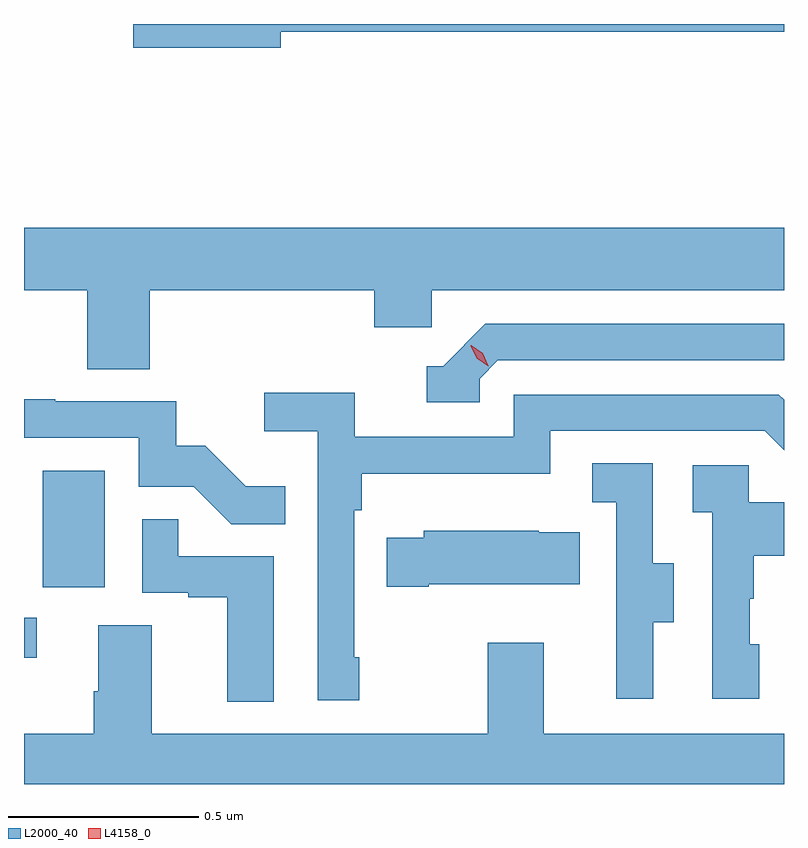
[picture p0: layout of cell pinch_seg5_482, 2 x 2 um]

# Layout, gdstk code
import gdstk
lib = gdstk.Library(unit=1e-6, precision=1e-09)
def R(c, l, rs):  # rectangles x0, y0, x1, y1
    for r in rs: c.add(gdstk.rectangle(r[:2], r[2:], *l))
def P(c, l, *ps):  # polygons
    for p in ps: c.add(gdstk.Polygon(p, *l))
L2000_40 = (2000, 40)
L4158_0 = (4158, 0)

pinch_seg5_482 = lib.new_cell('pinch_seg5_482')
R(pinch_seg5_482, L2000_40, [(946.045,835.812,946.078,835.917), (946.094,835.998,946.258,836.305)])
P(pinch_seg5_482, L2000_40, [(946.72,837.46),(948.045,837.46),(948.045,837.48),(946.332,837.48),(946.332,837.418),(946.72,837.418)],
  [(946.376,836.78),(946.967,836.78),(946.967,836.682),(947.118,836.682),(947.118,836.78),(948.045,836.78),(948.045,836.944),(946.045,836.944),(946.045,836.78),(946.211,836.78),(946.211,836.572),(946.376,836.572)],
  [(947.244,836.547),(947.292,836.595),(948.045,836.595),(948.045,836.691),(947.259,836.691),(947.148,836.58),(947.105,836.58),(947.105,836.484),(947.244,836.484)],
  [(946.927,835.813),(946.914,835.813),(946.914,836.201),(946.934,836.201),(946.934,836.297),(947.43,836.297),(947.43,836.409),(947.994,836.409),(948.045,836.358),(948.045,836.491),(948.031,836.505),(947.334,836.505),(947.334,836.394),(946.916,836.394),(946.916,836.51),(946.677,836.51),(946.677,836.408),(946.818,836.408),(946.818,835.701),(946.927,835.701)],
  [(946.733,836.263),(946.629,836.263),(946.522,836.37),(946.446,836.37),(946.446,836.487),(946.127,836.487),(946.127,836.492),(946.045,836.492),(946.045,836.391),(946.347,836.391),(946.347,836.262),(946.492,836.262),(946.59,836.164),(946.733,836.164)],
  [(947.701,835.906),(947.755,835.906),(947.755,836.061),(947.7,836.061),(947.7,836.324),(947.541,836.324),(947.541,836.221),(947.604,836.221),(947.604,835.917),(947.603,835.917),(947.603,835.704),(947.701,835.704)],
  [(947.98,835.848),(947.955,835.848),(947.955,835.967),(947.965,835.967),(947.965,836.081),(948.045,836.081),(948.045,836.221),(947.952,836.221),(947.952,836.319),(947.805,836.319),(947.805,836.195),(947.856,836.195),(947.856,835.704),(947.98,835.704)],
  [(946.702,836.079),(946.451,836.079),(946.451,836.177),(946.356,836.177),(946.356,835.983),(946.477,835.983),(946.477,835.971),(946.58,835.971),(946.58,835.697),(946.702,835.697)],
  [(947.11,836.006),(947.507,836.006),(947.507,836.143),(947.399,836.143),(947.399,836.146),(947.097,836.146),(947.097,836.128),(946.999,836.128),(946.999,835.999),(947.11,835.999)],
  [(948.045,835.612),(947.413,835.612),(947.413,835.852),(947.266,835.852),(947.266,835.612),(946.381,835.612),(946.381,835.898),(946.241,835.898),(946.241,835.724),(946.229,835.724),(946.229,835.612),(946.045,835.612),(946.045,835.48),(948.045,835.48)])
P(pinch_seg5_482, L4158_0, [(947.267,836.58),(947.237,836.6),(947.221,836.633),(947.221,836.634),(947.222,836.634),(947.252,836.614),(947.267,836.581),(947.267,836.58)])

lib.write_gds('pinch_seg5_482.gds')
